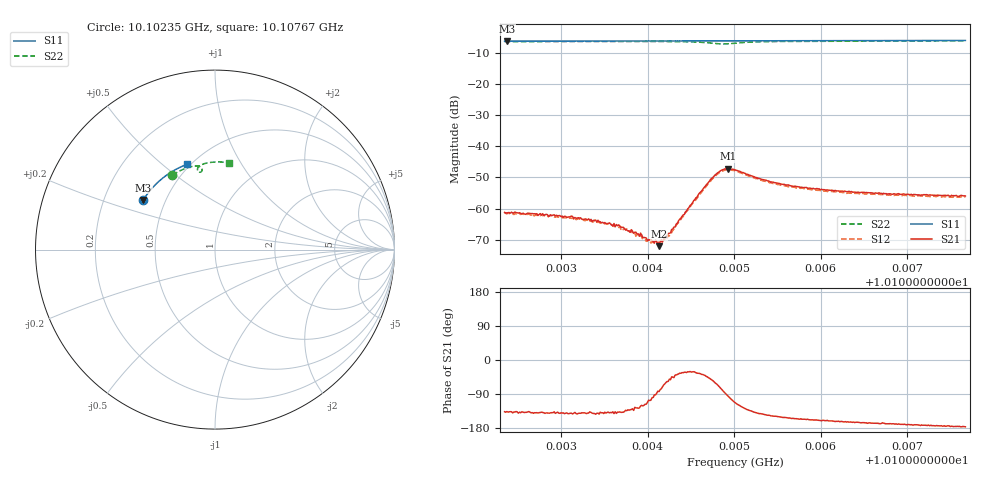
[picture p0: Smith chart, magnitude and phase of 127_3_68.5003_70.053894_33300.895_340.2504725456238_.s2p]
#  HZ  S  RI  R  50.00
! Rohde & Schwarz Vector Network Analyzer
! Rohde-Schwarz,ZNB20-2Port,1311601062101988,3.16
! Created: UTC 3/20/2024, 5:09:22 PM
! freq[Hz]  re:S11  im:S11  re:S21  im:S21  re:S12  im:S12  re:S22  im:S22
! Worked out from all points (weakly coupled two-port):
!   401 points, 10.10235 GHz to 10.10767 GHz, reference 50 ohm
!   highest |S21| = -47.15 dB at 10.10493 GHz (marker M1); lowest = -72.1 dB at 10.10413 GHz (marker M2)
!   lowest |S11| = -6.3 dB at 10.10237 GHz (marker M3), VSWR 2.89, Z = 18.8 + j13.6 ohm
!   |S11| at or under -10 dB: nowhere
!   |S22| runs from -7.2 to -6.2 dB; largest |S21 - S12| = 0.00046
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1.0102346e10  -0.4002 0.2758  -0.000626 -0.000597  -0.000583 -0.000619  -0.2371 0.4152
1.0102373e10  -0.3991 0.2773  -0.000611 -0.000588  -0.000552 -0.000609  -0.2357 0.4162
1.0102932e10  -0.3801 0.3055  -0.000589 -0.000481  -0.000507 -0.000519  -0.2037 0.4345
1.0103238e10  -0.369 0.3203  -0.000508 -0.00044  -0.000483 -0.000461  -0.1853 0.4435
1.0103518e10  -0.3581 0.3336  -0.00044 -0.000367  -0.000412 -0.000398  -0.1679 0.451
1.0103664e10  -0.3524 0.3402  -0.000404 -0.00037  -0.000342 -0.000362  -0.1583 0.4546
1.0103771e10  -0.3481 0.3451  -0.00029 -0.000327  -0.000257 -0.000342  -0.1512 0.4571
1.0103904e10  -0.3426 0.3509  -0.000213 -0.000289  -0.000184 -0.000344  -0.1421 0.46
1.010397e10  -0.3398 0.3539  -0.000153 -0.000304  -0.00013 -0.000286  -0.1374 0.4614
1.0104104e10  -0.3342 0.3597  1.1e-05 -0.00029  1.5e-05 -0.000295  -0.1275 0.4636
1.010413e10  -0.333 0.361  2.85e-05 -0.000247  6.57e-05 -0.000284  -0.1254 0.4642
1.0104157e10  -0.3319 0.362  7.77e-05 -0.000304  0.000112 -0.000272  -0.1235 0.4647
1.010425e10  -0.3279 0.366  0.000254 -0.000309  0.000246 -0.000267  -0.1159 0.4659
1.0104503e10  -0.3168 0.3766  0.000978 -0.000609  0.00101 -0.000513  -0.0926 0.4651
1.0104756e10  -0.3052 0.3868  0.00183 -0.00261  0.00198 -0.00234  -0.0719 0.4444
1.0104836e10  -0.3017 0.3897  0.00118 -0.00381  0.00145 -0.00357  -0.0766 0.4336
1.0104929e10  -0.2974 0.3932  -0.000404 -0.00437  -3.23e-05 -0.00418  -0.09 0.4322
1.0105009e10  -0.2937 0.3963  -0.00159 -0.00388  -0.00117 -0.00385  -0.0972 0.4407
1.0105435e10  -0.2734 0.412  -0.00225 -0.00143  -0.00203 -0.00158  -0.0728 0.4741
1.0105901e10  -0.25 0.428  -0.00194 -0.000791  -0.00179 -0.000916  -0.0384 0.4838
1.0106793e10  -0.2029 0.4545  -0.00169 -0.00035  -0.00159 -0.000486  0.022 0.4884
1.0107672e10  -0.1539 0.4753  -0.00159 -0.000103  -0.00152 -0.000253  0.079 0.4849
